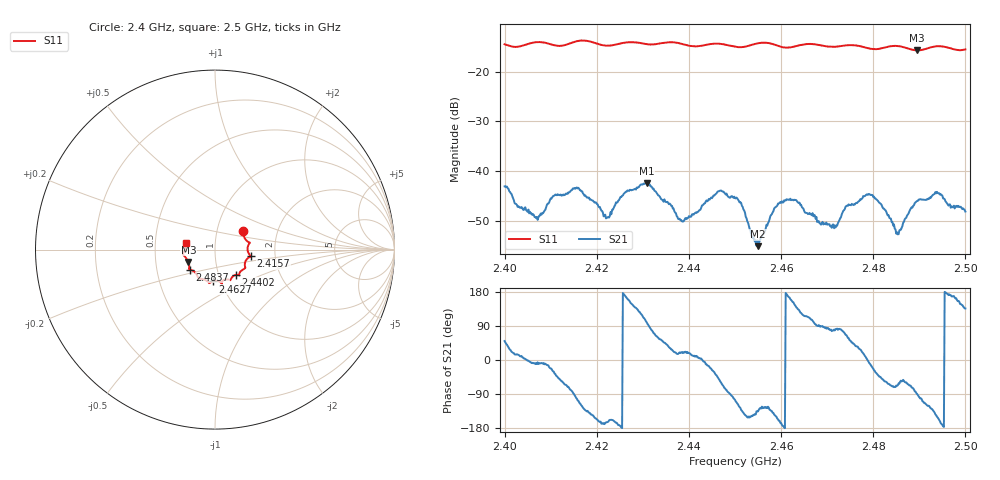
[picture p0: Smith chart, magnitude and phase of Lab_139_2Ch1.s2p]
# Hz S RI R 50
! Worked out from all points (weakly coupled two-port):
!   601 points, 2.4 GHz to 2.5 GHz, reference 50 ohm
!   highest |S21| = -42.50 dB at 2.4308 GHz (marker M1); lowest = -55.2 dB at 2.455 GHz (marker M2)
!   lowest |S11| = -15.7 dB at 2.4895 GHz (marker M3), VSWR 1.39, Z = 36.8 - j5.16 ohm
!   |S11| at or under -10 dB: start of sweep to end of sweep
!   S12 and S22 are empty: the file has one direction only
!   S11 on the Smith chart (normalised r, x): 2.4 GHz: 1.33, +0.29; 2.4157 GHz: 1.49, -0.11; 2.4402 GHz: 1.20, -0.35; 2.4627 GHz: 0.92, -0.34; 2.4837 GHz: 0.74, -0.17; 2.5 GHz: 0.72, +0.05
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2.4e9  0.1562 0.1051  0.00448 0.00535  0 0  0 0
2.407e9  0.1937 0.0394  0.00338 -0.000617  0 0  0 0
2.415667e9  0.1986 -0.0364  -0.00139 -0.00667  0 0  0 0
2.416667e9  0.2014 -0.0398  -0.00312 -0.0054  0 0  0 0
2.422333e9  0.1692 -0.067  -0.00328 -0.000948  0 0  0 0
2.430833e9  0.1487 -0.116  -0.00125 0.0074  0 0  0 0
2.433333e9  0.1358 -0.1337  0.00294 0.00485  0 0  0 0
2.440167e9  0.1144 -0.1406  0.00331 0.00105  0 0  0 0
2.4465e9  0.0845 -0.171  0.00402 -0.00476  0 0  0 0
2.45e9  0.0638 -0.166  -0.00138 -0.00513  0 0  0 0
2.455e9  0.0374 -0.1888  -0.00125 -0.00122  0 0  0 0
2.459e9  0.0294 -0.1812  -0.0038 -0.00219  0 0  0 0
2.462667e9  -0.0116 -0.1771  -0.00448 0.00234  0 0  0 0
2.466667e9  -0.0331 -0.1864  -0.001 0.00343  0 0  0 0
2.4715e9  -0.0625 -0.1658  0.00045 0.00261  0 0  0 0
2.479e9  -0.1045 -0.1355  0.00583 -0.000476  0 0  0 0
2.483333e9  -0.1386 -0.1122  0.00161 -0.0032  0 0  0 0
2.483667e9  -0.1403 -0.112  0.00135 -0.00303  0 0  0 0
2.4855e9  -0.1449 -0.1072  0.00109 -0.00203  0 0  0 0
2.4895e9  -0.1482 -0.0683  6.61e-05 -0.00497  0 0  0 0
2.494e9  -0.1781 -0.0261  -0.00528 -0.00282  0 0  0 0
2.5e9  -0.163 0.0362  -0.0028 0.00271  0 0  0 0
